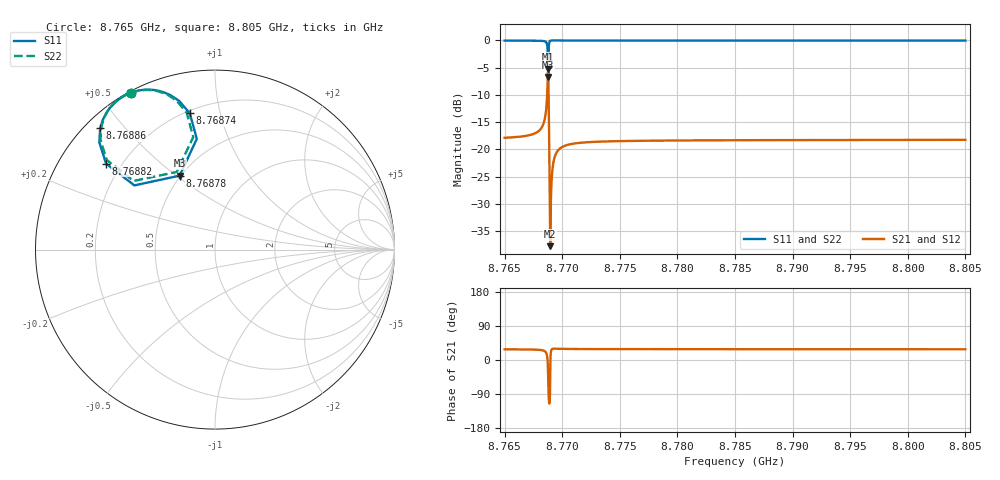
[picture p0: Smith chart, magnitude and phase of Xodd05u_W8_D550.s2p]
! Sonnet Data File
! From: emgraph Version : 16.52
! From Project: Qubit_Xmon2_brg_para2
! Data is De-embedded
! Data File Written: 11/12/2017 21:29:58
!< HDATE 11/12/2017 19:10:47
!< MDATE 11/12/2017 19:10:47
!< PARAMS
!< Lj = 11.0
!< Gap = 6.0
!< Pwid = 2000.0
!< Airgap = 6.0
!< Width = 10.0
!< Bwid = 8.0
!< Dis1 = 550.0
!< Dis2 = 556.0
!< END PARAMS
# GHZ S MA R 34.65000
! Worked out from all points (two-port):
!   2001 points, 8.765 GHz to 8.805 GHz, reference 34.65 ohm
!   highest |S21| = -5.31 dB at 8.76878 GHz (marker M1); lowest = -37.7 dB at 8.76896 GHz (marker M2)
!   |S21| within 3 dB of the highest: 8.768723 GHz to 8.76881 GHz (87.22 kHz wide, 0.000995 % of centre)
!   lowest |S11| = -6.8 dB at 8.76878 GHz (marker M3), VSWR 2.68, Z = 17.1 + j17.8 ohm
!   |S11| at or under -10 dB: nowhere
!   |S22| runs from -6.3 to 0.0 dB; largest |S21 - S12| = 0
!   S11 on the Smith chart (normalised r, x): 8.765 GHz: 0.01, +0.60; 8.76874 GHz: 0.21, +0.81; 8.76878 GHz: 0.49, +0.51; 8.76882 GHz: 0.14, +0.34; 8.76886 GHz: 0.04, +0.43; 8.805 GHz: 0.01, +0.60
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8.765  0.9918 118.2  0.1278 28.2  0.1278 28.2  0.9918 118.3
!< P1 F=8.765 Eeff=(5.13709823 -5.6953e-5) Z0=(34.64455 -9.67e-5) R=0.0 C=0.0
!< P2 F=8.765 Eeff=(5.13709823 -5.6953e-5) Z0=(34.64455 -9.67e-5) R=0.0 C=0.0
8.76794  0.9886 117.1  0.1468 26.9  0.1468 26.9  0.9886 117.2
8.76838  0.9826 115.5  0.1727 24.8  0.1727 24.8  0.9827 115.7
8.76854  0.9724 113.7  0.2042 22.0  0.2042 22.0  0.9727 113.9
8.76864  0.9489 110.6  0.2554 16.8  0.2554 16.8  0.9497 111.0
8.7687  0.8961 106.1  0.3306 8.2  0.3306 8.2  0.8985 106.8
8.76874  0.7727 100.5  0.4355 -6.8  0.4355 -6.8  0.7794 101.7
8.76878  0.4566 115.6  0.5427 -46.1  0.5427 -46.1  0.4824 116.2
8.76882  0.7734 141.7  0.325 -94.1  0.325 -94.1  0.7826 140.4
8.76886  0.9303 133.4  0.1436 -112.4  0.1436 -112.4  0.9333 132.7
8.76896  0.9873 125.5  0.013 -36.5  0.013 -36.5  0.9879 125.2
8.76904  0.9931 123.3  0.04104 25.0  0.04104 25.0  0.9934 123.1
8.7691  0.9944 122.4  0.05625 28.4  0.05625 28.4  0.9946 122.3
8.7693  0.9951 120.9  0.0819 29.8  0.0819 29.8  0.9952 120.8
8.76962  0.9947 120.0  0.09747 29.6  0.09747 29.6  0.9947 120.0
8.7703  0.9939 119.3  0.1087 29.2  0.1087 29.2  0.9939 119.3
8.77168  0.9933 118.9  0.1153 28.9  0.1153 28.9  0.9933 118.9
8.77834  0.9927 118.6  0.1204 28.6  0.1204 28.6  0.9927 118.6
8.785  0.9926 118.5  0.1214 28.5  0.1214 28.5  0.9926 118.5
8.79168  0.9925 118.4  0.1219 28.4  0.1219 28.4  0.9925 118.4
8.79834  0.9925 118.4  0.1222 28.4  0.1222 28.4  0.9925 118.4
8.805  0.9925 118.3  0.1224 28.3  0.1224 28.3  0.9925 118.3
